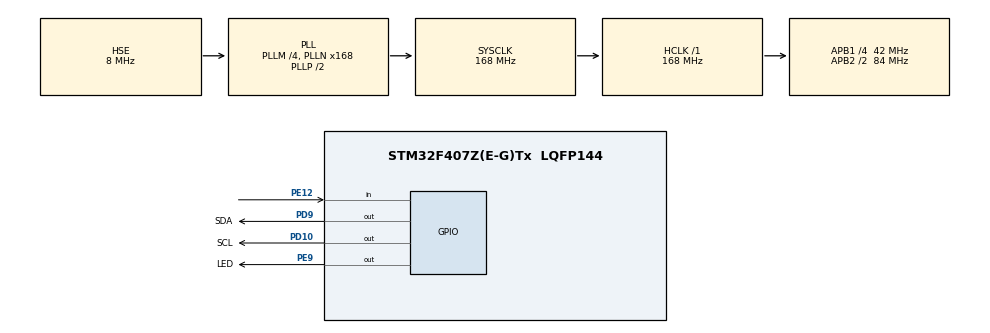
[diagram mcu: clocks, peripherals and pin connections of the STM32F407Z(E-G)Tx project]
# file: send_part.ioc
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Mcu.Family=STM32F4
Mcu.Name=STM32F407Z(E-G)Tx
Mcu.Package=LQFP144
NVIC.PriorityGroup=NVIC_PRIORITYGROUP_4
PC14-OSC32_IN.Mode=LSE-External-Oscillator
PC14-OSC32_IN.Signal=RCC_OSC32_IN
PC15-OSC32_OUT.Mode=LSE-External-Oscillator
PC15-OSC32_OUT.Signal=RCC_OSC32_OUT
PD10.GPIO_Label=SCL
PD10.GPIO_ModeDefaultOutputPP=GPIO_MODE_OUTPUT_OD
PD10.GPIO_PuPd=GPIO_PULLUP
PD10.GPIO_Speed=GPIO_SPEED_FREQ_HIGH
PD10.PinState=GPIO_PIN_SET
PD10.Signal=GPIO_Output
PD9.GPIO_Label=SDA
PD9.GPIO_ModeDefaultOutputPP=GPIO_MODE_OUTPUT_OD
PD9.GPIO_PuPd=GPIO_PULLUP
PD9.GPIO_Speed=GPIO_SPEED_FREQ_HIGH
PD9.PinState=GPIO_PIN_SET
PD9.Signal=GPIO_Output
PE12.GPIO_PuPd=GPIO_PULLDOWN
PE12.Signal=GPIO_Input
PE9.GPIO_Label=LED
PE9.GPIO_ModeDefaultOutputPP=GPIO_MODE_OUTPUT_PP
PE9.GPIO_PuPd=GPIO_NOPULL
PE9.GPIO_Speed=GPIO_SPEED_FREQ_MEDIUM
PE9.PinState=GPIO_PIN_RESET
PE9.Signal=GPIO_Output
PH0-OSC_IN.Mode=HSE-External-Oscillator
PH0-OSC_IN.Signal=RCC_OSC_IN
PH1-OSC_OUT.Mode=HSE-External-Oscillator
PH1-OSC_OUT.Signal=RCC_OSC_OUT
ProjectManager.HeapSize=0x200
ProjectManager.StackSize=0x400
ProjectManager.TargetToolchain=MDK-ARM V5.32
RCC.48MHZClocksFreq_Value=84000000
RCC.AHBFreq_Value=168000000
RCC.APB1CLKDivider=RCC_HCLK_DIV4
RCC.APB1Freq_Value=42000000
RCC.APB1TimFreq_Value=84000000
RCC.APB2CLKDivider=RCC_HCLK_DIV2
RCC.APB2Freq_Value=84000000
RCC.APB2TimFreq_Value=168000000
RCC.CortexFreq_Value=168000000
RCC.HCLKFreq_Value=168000000
RCC.HSE_VALUE=8000000
RCC.HSI_VALUE=16000000
RCC.PLLM=4
RCC.PLLN=168
RCC.PLLSourceVirtual=RCC_PLLSOURCE_HSE
RCC.SYSCLKFreq_VALUE=168000000
RCC.SYSCLKSource=RCC_SYSCLKSOURCE_PLLCLK
RCC.VCOOutputFreq_Value=336000000
board=custom

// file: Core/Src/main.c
/* USER CODE BEGIN Header */
/**
  ******************************************************************************
  * @file           : main.c
  * @brief          : Main program body
  ******************************************************************************
  * @attention
  *
  * Copyright (c) 2022 STMicroelectronics.
  * All rights reserved.
  *
  * This software is licensed under terms that can be found in the LICENSE file
  * in the root directory of this software component.
  * If no LICENSE file comes with this software, it is provided AS-IS.
  *
  ******************************************************************************
  */
/* USER CODE END Header */
#include "main.h"
#include "gpio.h"

/* USER CODE BEGIN Includes */
#include "OLED.h"
#include "delay.h"
/* USER CODE END Includes */

/* USER CODE BEGIN PD */

#define READ_DHT HAL_GPIO_ReadPin(GPIOE,GPIO_PIN_12)

/* USER CODE END PD */

/* USER CODE BEGIN PV */

u8 flag_get=0;

u8 i;
u8 tem=0,tem_p=0;
int flag_non=0;
/* USER CODE END PV */

void SystemClock_Config(void);

/* USER CODE BEGIN 0 */
u8 read_han(void);

/* USER CODE END 0 */

int main(void)
{

  /* MCU Configuration--------------------------------------------------------*/

  /* Reset of all peripherals, Initializes the Flash interface and the Systick. */
  HAL_Init();

  /* Configure the system clock */
  SystemClock_Config();

  /* Initialize all configured peripherals */
  MX_GPIO_Init();
  /* USER CODE BEGIN 2 */

	Delay_Init(168);
	OLED_Init();
	OLED_ON();
	OLED_CLS();
	OLED_ShowStr(0,0,"temp:",2);

	HAL_GPIO_WritePin(GPIOE,GPIO_PIN_9,0);

  /* USER CODE END 2 */

  /* Infinite loop */
  while (1)
  {

    /* USER CODE BEGIN 3 */
		if(READ_DHT){
			HAL_GPIO_WritePin(GPIOE,GPIO_PIN_9,1);
			flag_non=0;
			Delay_ms(14);
			tem=0;
			tem_p=0;
			for(i=0;i<8;i++){

				tem|=READ_DHT<<(7-i);

				Delay_ms(10);
			}
			for(i=0;i<8;i++){
				tem_p|=READ_DHT<<(7-i);
				Delay_ms(10);
			}
			OLED_ShowStr(40,0,"        ",2);
			OLED_ShowInt(40,0,tem,2);
			OLED_ShowChar(56,0,'.',2);
			OLED_ShowInt(64,0,tem_p,2);
				OLED_ShowStr(80,0,"C",2);
		}else {
			flag_non++;
			if(flag_non==1300000){
				HAL_GPIO_WritePin(GPIOE,GPIO_PIN_9,0);
			}
		}

  }
  /* USER CODE END 3 */
}

void SystemClock_Config(void)
{
  RCC_OscInitTypeDef RCC_OscInitStruct = {0};
  RCC_ClkInitTypeDef RCC_ClkInitStruct = {0};

  /** Configure the main internal regulator output voltage
  */
  __HAL_RCC_PWR_CLK_ENABLE();
  __HAL_PWR_VOLTAGESCALING_CONFIG(PWR_REGULATOR_VOLTAGE_SCALE1);
  /** Initializes the RCC Oscillators according to the specified parameters
  * in the RCC_OscInitTypeDef structure.
  */
  RCC_OscInitStruct.OscillatorType = RCC_OSCILLATORTYPE_HSE;
  RCC_OscInitStruct.HSEState = RCC_HSE_ON;
  RCC_OscInitStruct.PLL.PLLState = RCC_PLL_ON;
  RCC_OscInitStruct.PLL.PLLSource = RCC_PLLSOURCE_HSE;
  RCC_OscInitStruct.PLL.PLLM = 4;
  RCC_OscInitStruct.PLL.PLLN = 168;
  RCC_OscInitStruct.PLL.PLLP = RCC_PLLP_DIV2;
  RCC_OscInitStruct.PLL.PLLQ = 4;
  if (HAL_RCC_OscConfig(&RCC_OscInitStruct) != HAL_OK)
  {
    Error_Handler();
  }
  /** Initializes the CPU, AHB and APB buses clocks
  */
  RCC_ClkInitStruct.ClockType = RCC_CLOCKTYPE_HCLK|RCC_CLOCKTYPE_SYSCLK
                              |RCC_CLOCKTYPE_PCLK1|RCC_CLOCKTYPE_PCLK2;
  RCC_ClkInitStruct.SYSCLKSource = RCC_SYSCLKSOURCE_PLLCLK;
  RCC_ClkInitStruct.AHBCLKDivider = RCC_SYSCLK_DIV1;
  RCC_ClkInitStruct.APB1CLKDivider = RCC_HCLK_DIV4;
  RCC_ClkInitStruct.APB2CLKDivider = RCC_HCLK_DIV2;

  if (HAL_RCC_ClockConfig(&RCC_ClkInitStruct, FLASH_LATENCY_5) != HAL_OK)
  {
    Error_Handler();
  }
}

/* USER CODE BEGIN 4 */
//u8 read_han(void){
//	int o;
//	u8 flag=0;
//	Delay_ms(2);
//	for(o=0;o<50000;o++){
//		if(READ_DHT) flag=1;
//	}
//	return flag;
//
//}
/* USER CODE END 4 */

void Error_Handler(void)
{
  __disable_irq();
  while (1)
  {
  }
}
